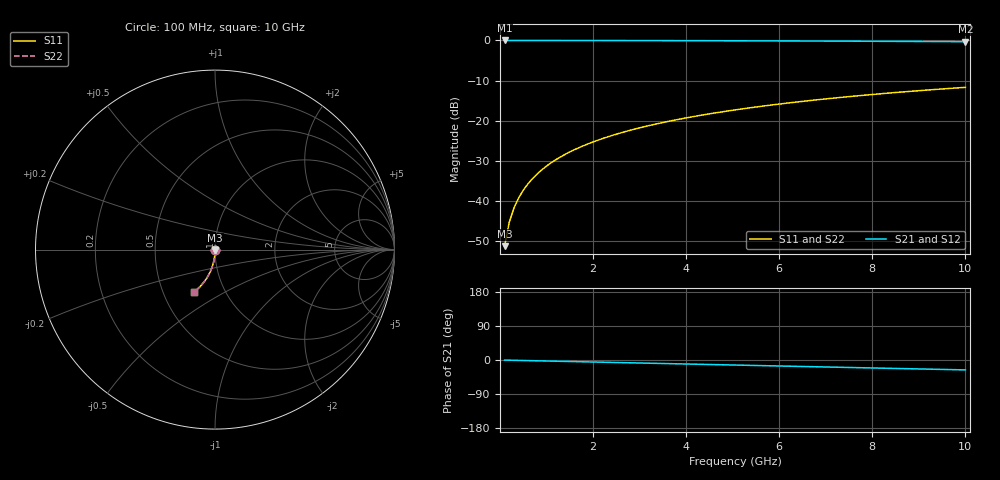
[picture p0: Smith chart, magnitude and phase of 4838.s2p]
# Hz S RI R 50.00
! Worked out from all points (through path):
!   100 points, 100 MHz to 10 GHz, reference 50 ohm
!   highest |S21| = 0.00 dB at 100 MHz (marker M1); lowest = -0.3 dB at 10 GHz (marker M2)
!   group delay of S21, straight-line fit = 7.27 ps
!   lowest |S11| = -51.2 dB at 100 MHz (marker M3), VSWR 1.01, Z = 50 - j0.273 ohm
!   |S11| at or under -10 dB: start of sweep to end of sweep
!   |S22| runs from -51.2 to -11.7 dB; largest |S21 - S12| = 0
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1e8  0.000304 -0.00272  0.9997 -0.0046  0.9997 -0.0046  0.000304 -0.00272
2e8  0.000265 -0.00545  0.9996 -0.0092  0.9996 -0.0092  0.000265 -0.00545
3e8  0.0002 -0.00817  0.9995 -0.0138  0.9995 -0.0138  0.0002 -0.00817
4e8  0.00011 -0.0109  0.9994 -0.0184  0.9994 -0.0184  0.00011 -0.0109
5e8  -5.15e-06 -0.0136  0.9993 -0.023  0.9993 -0.023  -5.15e-06 -0.0136
6e8  -0.000146 -0.0163  0.9991 -0.0276  0.9991 -0.0276  -0.000146 -0.0163
7e8  -0.000311 -0.0191  0.9989 -0.0322  0.9989 -0.0322  -0.000311 -0.0191
8e8  -0.000502 -0.0218  0.9987 -0.0368  0.9987 -0.0368  -0.000502 -0.0218
9e8  -0.000718 -0.0245  0.9985 -0.0414  0.9985 -0.0414  -0.000718 -0.0245
1.1e9  -0.00122 -0.0299  0.9979 -0.0506  0.9979 -0.0506  -0.00122 -0.0299
1.4e9  -0.00217 -0.0381  0.9968 -0.0644  0.9968 -0.0644  -0.00217 -0.0381
1.8e9  -0.00379 -0.0489  0.995 -0.0827  0.995 -0.0827  -0.00379 -0.0489
2.1e9  -0.00526 -0.0569  0.9933 -0.0964  0.9933 -0.0964  -0.00526 -0.0569
2.5e9  -0.00757 -0.0676  0.9906 -0.1146  0.9906 -0.1146  -0.00757 -0.0676
2.9e9  -0.0103 -0.0782  0.9876 -0.1327  0.9876 -0.1327  -0.0103 -0.0782
3.4e9  -0.0142 -0.0912  0.9831 -0.1553  0.9831 -0.1553  -0.0142 -0.0912
4.2e9  -0.0217 -0.1117  0.9745 -0.1909  0.9745 -0.1909  -0.0217 -0.1117
5.1e9  -0.0319 -0.134  0.9628 -0.2303  0.9628 -0.2303  -0.0319 -0.134
5.9e9  -0.0424 -0.1529  0.9506 -0.2645  0.9506 -0.2645  -0.0424 -0.1529
6.7e9  -0.0542 -0.171  0.937 -0.2979  0.937 -0.2979  -0.0542 -0.171
8.4e9  -0.0833 -0.2059  0.9031 -0.3657  0.9031 -0.3657  -0.0833 -0.2059
1e10  -0.1147 -0.2339  0.8661 -0.4249  0.8661 -0.4249  -0.1147 -0.2339
